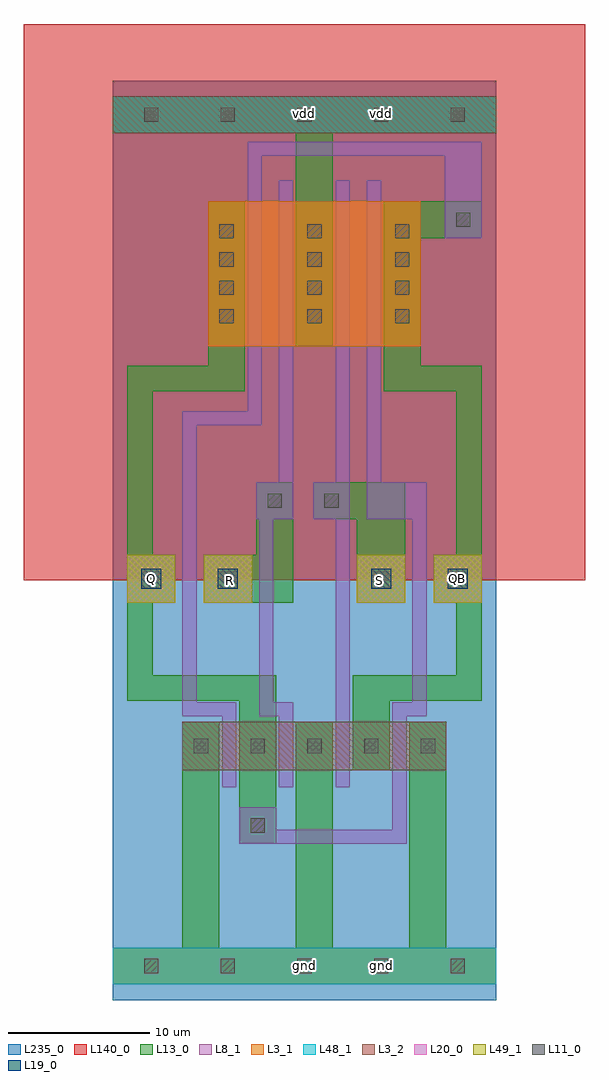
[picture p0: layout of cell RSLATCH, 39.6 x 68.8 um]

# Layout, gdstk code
import gdstk
lib = gdstk.Library(unit=1e-6, precision=1e-09)
def R(c, l, rs):  # rectangles x0, y0, x1, y1
    for r in rs: c.add(gdstk.rectangle(r[:2], r[2:], *l))
def A(c, l, x, y, w, h, nx, ny, dx, dy):  # array of equal rectangles
    R(c, l, [(x+i*dx, y+j*dy, x+i*dx+w, y+j*dy+h) for i in range(nx) for j in range(ny)])
def P(c, l, *ps):  # polygons
    for p in ps: c.add(gdstk.Polygon(p, *l))
L3_1 = (3, 1)
L3_2 = (3, 2)
L8_1 = (8, 1)
L11_0 = (11, 0)
L13_0 = (13, 0)
L19_0 = (19, 0)
L20_0 = (20, 0)
L48_1 = (48, 1)
L49_1 = (49, 1)
L140_0 = (140, 0)
L235_0 = (235, 0)

rslatch = lib.new_cell('RSLATCH')
R(rslatch, L3_1, [(0,1.1,27,3.7), (6.7,46.1,21.7,56.3)])
R(rslatch, L3_2, [(4.9,16.2,23.5,19.6), (0,61.1,27,63.7)])
P(rslatch, L8_1, [(11.7,15),(11.7,20),(10.3,20),(10.3,33.9),(10.1,33.9),(10.1,36.5),(11.7,36.5),(11.7,57.8),(12.7,57.8),(12.7,33.9),(11.3,33.9),(11.3,21),(12.7,21),(12.7,15)],
  [(15.7,15),(15.7,33.9),(14.1,33.9),(14.1,36.5),(15.7,36.5),(15.7,57.8),(16.7,57.8),(16.7,15)],
  [(8.9,11),(8.9,13.6),(11.5,13.6),(11.5,12),(19.7,12),(19.7,21),(21.1,21),(21.1,33.9),(17.9,33.9),(17.9,57.8),(18.9,57.8),(18.9,36.5),(22.1,36.5),(22.1,20),(20.7,20),(20.7,11)],
  [(7.7,15),(7.7,20),(4.9,20),(4.9,41.5),(9.5,41.5),(9.5,60.5),(26,60.5),(26,53.7),(23.4,53.7),(23.4,59.5),(10.5,59.5),(10.5,40.5),(5.9,40.5),(5.9,21),(8.7,21),(8.7,15)])
A(rslatch, L11_0, 7.6, 1.9, 1, 1, 4, 1, 5.4, 0)
A(rslatch, L11_0, 5.7, 17.4, 1, 1, 3, 1, 4, 0)
A(rslatch, L11_0, 13.7, 17.4, 1, 1, 3, 1, 4, 0)
A(rslatch, L11_0, 7.5, 47.7, 1, 1, 1, 4, 0, 2)
A(rslatch, L11_0, 19.9, 47.7, 1, 1, 1, 4, 0, 2)
R(rslatch, L11_0, [(2.2,1.9,3.2,2.9), (7.6,1.9,8.6,2.9), (23.8,1.9,24.8,2.9), (9.7,11.8,10.7,12.8), (10.9,34.7,11.9,35.7), (14.9,34.7,15.9,35.7), (13.7,47.7,14.7,48.7), (13.7,47.7,14.7,48.7), (13.7,49.7,14.7,50.7), (13.7,49.7,14.7,50.7), (13.7,51.7,14.7,52.7), (13.7,51.7,14.7,52.7), (13.7,53.7,14.7,54.7), (13.7,53.7,14.7,54.7), (24.2,54.5,25.2,55.5), (2.2,61.9,3.2,62.9), (7.6,61.9,8.6,62.9), (7.6,61.9,8.6,62.9), (7.6,61.9,8.6,62.9), (7.6,61.9,8.6,62.9), (13,61.9,14,62.9), (13,61.9,14,62.9), (18.4,61.9,19.4,62.9), (18.4,61.9,19.4,62.9), (23.8,61.9,24.8,62.9), (23.8,61.9,24.8,62.9), (23.8,61.9,24.8,62.9), (23.8,61.9,24.8,62.9)])
A(rslatch, L13_0, 4.9, 3.7, 2.6, 15.9, 3, 1, 8, 0)
R(rslatch, L13_0, [(0,1.1,27,3.7), (12.9,46.1,15.5,61.1), (0,61.1,27,63.7)])
P(rslatch, L13_0, [(6.4,28),(6.4,31.4),(10.1,31.4),(10.1,36.5),(12.7,36.5),(12.7,28)],
  [(17.2,28),(17.2,33.9),(14.1,33.9),(14.1,36.5),(20.6,36.5),(20.6,28)],
  [(8.9,11),(8.9,21.1),(1,21.1),(1,44.7),(6.7,44.7),(6.7,56.3),(9.3,56.3),(9.3,42.9),(2.8,42.9),(2.8,31.4),(4.4,31.4),(4.4,28),(2.8,28),(2.8,22.9),(11.5,22.9),(11.5,11)],
  [(16.9,16.2),(16.9,22.9),(24.2,22.9),(24.2,28),(22.6,28),(22.6,31.4),(24.2,31.4),(24.2,42.9),(19.1,42.9),(19.1,56.3),(26,56.3),(26,53.7),(21.7,53.7),(21.7,44.7),(26,44.7),(26,21.1),(19.5,21.1),(19.5,16.2)])
R(rslatch, L19_0, [(2,29,3.4,30.4), (7.4,29,8.8,30.4), (18.2,29,19.6,30.4), (23.6,29,25,30.4)])
R(rslatch, L20_0, [(1,28,4.4,31.4), (6.4,28,9.8,31.4), (17.2,28,20.6,31.4), (22.6,28,26,31.4)])
R(rslatch, L48_1, [(0,1.1,27,3.7), (0,61.1,27,63.7)])
R(rslatch, L49_1, [(1,28,4.4,31.4), (6.4,28,9.8,31.4), (17.2,28,20.6,31.4), (22.6,28,26,31.4)])
R(rslatch, L140_0, [(-6.3,29.6,33.3,68.8)])
R(rslatch, L235_0, [(0,0,27,64.8)])
rslatch.add(gdstk.Label('QB', (24.3,29.7), layer=49, texttype=0))
rslatch.add(gdstk.Label('R', (8.2,29.6), layer=49, texttype=0))
rslatch.add(gdstk.Label('S', (18.8,29.6), layer=49, texttype=0))
rslatch.add(gdstk.Label('Q', (2.7,29.7), layer=49, texttype=0))
rslatch.add(gdstk.Label('gnd', (13.5,2.4), layer=48, texttype=0))
rslatch.add(gdstk.Label('vdd', (13.5,62.5), layer=48, texttype=0))
rslatch.add(gdstk.Label('gnd', (18.9,2.4), layer=48, texttype=0))
rslatch.add(gdstk.Label('vdd', (18.9,62.5), layer=48, texttype=0))

lib.write_gds('RSLATCH.gds')
